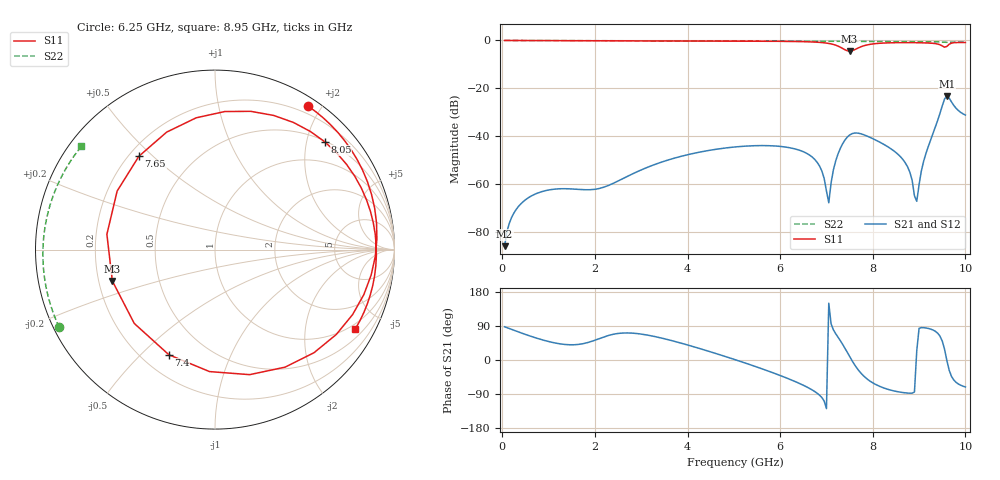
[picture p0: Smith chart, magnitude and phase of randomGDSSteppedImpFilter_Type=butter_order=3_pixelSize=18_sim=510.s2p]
! freq	dB(S11)	phase(S11)	dB(S12)	phase(S12)
!  dB(S21)	phase(S21)	dB(S22)	phase(S22)
!S-par simulation data
#  GHz  S  DB  R 50
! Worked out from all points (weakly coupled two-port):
!   200 points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, 50 MHz to 10 GHz, reference 50 ohm
!   highest |S21| = -23.21 dB at 9.6 GHz (marker M1); lowest = -85.9 dB at 50 MHz (marker M2)
!   lowest |S11| = -4.5 dB at 7.5 GHz (marker M3), VSWR 3.98, Z = 12.8 - j6.99 ohm
!   |S11| at or under -10 dB: nowhere
!   |S22| runs from -0.8 to 0.0 dB; largest |S21 - S12| = 0
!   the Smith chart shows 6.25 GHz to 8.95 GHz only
!   S11 on the Smith chart (normalised r, x): 6.25 GHz: 0.11, +1.84; 7.4 GHz: 0.31, -0.61; 7.65 GHz: 0.24, +0.45; 8.05 GHz: 0.52, +2.35; 8.95 GHz: 0.80, -3.65
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0.05  -0.00 -3.3  -85.92 87.7  -85.92 87.7  -0.00 -1.4
0.65  -0.05 -41.7  -64.72 61.2  -64.72 61.2  -0.02 -18.0
1.75  -0.11 -103.4  -62.32 43.2  -62.32 43.2  -0.06 -47.6
2.6  -0.14 -142.6  -57.74 71.1  -57.74 71.1  -0.09 -69.4
3.4  -0.17 -175.4  -51.07 59.0  -51.07 59.0  -0.12 -89.0
5.05  -0.26 117.9  -44.44 -0.0  -44.44 -0.0  -0.19 -126.9
6.25  -0.42 57.0  -44.98 -53.0  -44.98 -53.0  -0.27 -153.5
6.7  -0.63 24.0  -48.83 -79.6  -48.83 -79.6  -0.30 -163.5
6.9  -0.88 3.7  -54.49 -99.0  -54.49 -99.0  -0.32 -168.0
7.05  -1.25 -16.8  -67.78 149.8  -67.78 149.8  -0.33 -171.4
7.2  -1.98 -46.2  -50.26 69.3  -50.26 69.3  -0.35 -174.8
7.4  -3.88 -113.7  -41.56 30.9  -41.56 30.9  -0.36 -179.5
7.5  -4.46 -163.0  -39.49 9.4  -39.49 9.4  -0.37 178.2
7.65  -3.47 129.2  -38.65 -20.2  -38.65 -20.2  -0.39 174.7
7.8  -2.26 86.0  -39.34 -41.8  -39.34 -41.8  -0.40 171.2
8.05  -1.34 44.5  -41.48 -63.8  -41.48 -63.8  -0.43 165.1
8.35  -0.99 13.8  -44.71 -78.3  -44.71 -78.3  -0.46 157.8
8.75  -0.90 -16.3  -52.74 -87.3  -52.74 -87.3  -0.51 147.6
8.95  -0.93 -29.4  -67.18 24.8  -67.18 24.8  -0.53 142.3
9.1  -0.99 -38.8  -50.33 85.2  -50.33 85.2  -0.55 138.3
9.6  -2.48 -56.5  -23.21 -1.3  -23.21 -1.3  -0.79 125.0
10  -0.87 -82.7  -31.17 -71.2  -31.17 -71.2  -0.65 113.5
